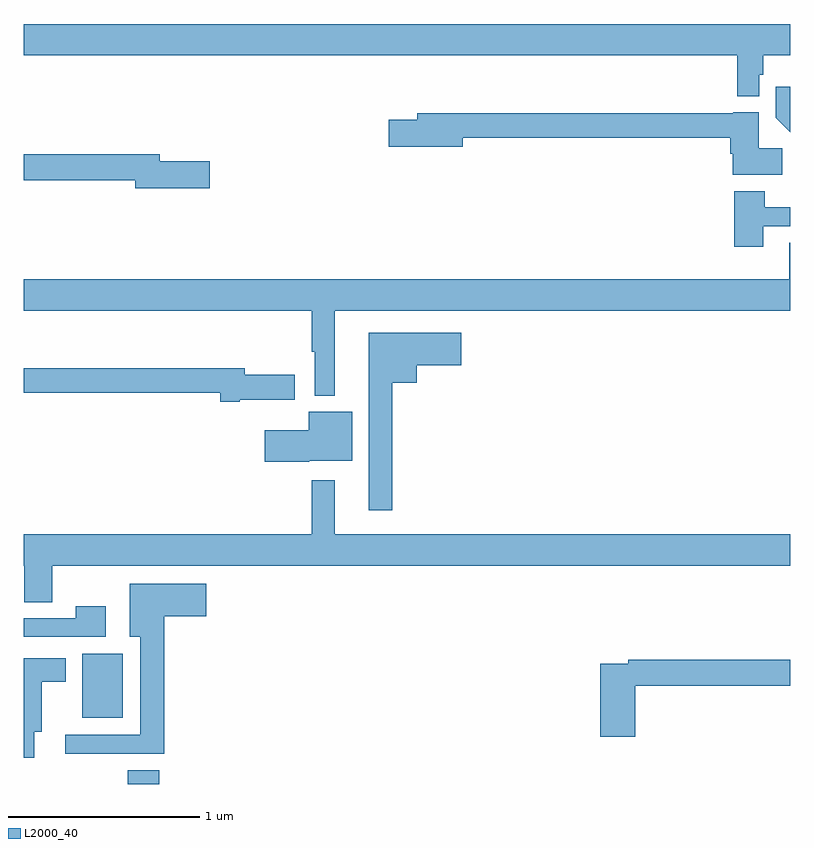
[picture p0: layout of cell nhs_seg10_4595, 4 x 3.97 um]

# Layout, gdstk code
import gdstk
lib = gdstk.Library(unit=1e-6, precision=1e-09)
def R(c, l, rs):  # rectangles x0, y0, x1, y1
    for r in rs: c.add(gdstk.rectangle(r[:2], r[2:], *l))
def P(c, l, *ps):  # polygons
    for p in ps: c.add(gdstk.Polygon(p, *l))
L2000_40 = (2000, 40)

nhs_seg10_4595 = lib.new_cell('nhs_seg10_4595')
R(nhs_seg10_4595, L2000_40, [(373.541,1308.5,373.706,1308.571), (373.304,1308.845,373.516,1309.18)])
P(nhs_seg10_4595, L2000_40, [(376.839,1312.203),(376.859,1312.203),(376.859,1312.304),(377,1312.304),(377,1312.468),(373,1312.468),(373,1312.304),(376.723,1312.304),(376.723,1312.091),(376.839,1312.091)],
  [(377,1312.141),(376.924,1312.141),(376.924,1311.978),(377,1311.902)],
  [(376.958,1311.818),(376.837,1311.818),(376.837,1312.006),(376.704,1312.006),(376.704,1312.003),(375.053,1312.003),(375.053,1311.969),(374.904,1311.969),(374.904,1311.827),(375.292,1311.827),(375.292,1311.874),(376.688,1311.874),(376.688,1311.791),(376.7,1311.791),(376.7,1311.68),(376.958,1311.68)],
  [(373.969,1311.752),(373.708,1311.752),(373.708,1311.788),(373,1311.788),(373,1311.652),(373.58,1311.652),(373.58,1311.61),(373.969,1311.61)],
  [(376.861,1311.411),(377,1311.411),(377,1311.511),(376.869,1311.511),(376.869,1311.595),(376.709,1311.595),(376.709,1311.306),(376.861,1311.306)],
  [(374.623,1310.972),(377,1310.972),(377,1311.326),(376.997,1311.326),(376.997,1311.136),(373,1311.136),(373,1310.972),(374.502,1310.972),(374.502,1310.756),(374.519,1310.756),(374.519,1310.528),(374.623,1310.528)],
  [(374.923,1310.594),(375.052,1310.594),(375.052,1310.687),(375.283,1310.687),(375.283,1310.857),(374.801,1310.857),(374.801,1309.929),(374.923,1309.929)],
  [(374.128,1310.507),(374.413,1310.507),(374.413,1310.637),(374.152,1310.637),(374.152,1310.671),(373,1310.671),(373,1310.542),(374.024,1310.542),(374.024,1310.495),(374.128,1310.495)],
  [(374.49,1310.189),(374.713,1310.189),(374.713,1310.443),(374.486,1310.443),(374.486,1310.347),(374.256,1310.347),(374.256,1310.182),(374.49,1310.182)],
  [(373.149,1309.64),(377,1309.64),(377,1309.804),(374.623,1309.804),(374.623,1310.086),(374.502,1310.086),(374.502,1309.804),(373,1309.804),(373,1309.64),(373.001,1309.64),(373.001,1309.45),(373.149,1309.45)],
  [(373.733,1309.376),(373.951,1309.376),(373.951,1309.546),(373.553,1309.546),(373.553,1309.268),(373.607,1309.268),(373.607,1308.756),(373.215,1308.756),(373.215,1308.659),(373.733,1308.659)],
  [(373.426,1309.429),(373.27,1309.429),(373.27,1309.365),(373,1309.365),(373,1309.269),(373.426,1309.269)],
  [(373.054,1308.773),(373.093,1308.773),(373.093,1309.034),(373.219,1309.034),(373.219,1309.156),(373,1309.156),(373,1308.636),(373.054,1308.636)],
  [(376.193,1309.012),(377,1309.012),(377,1309.148),(376.156,1309.148),(376.156,1309.128),(376.01,1309.128),(376.01,1308.747),(376.193,1308.747)])

lib.write_gds('nhs_seg10_4595.gds')
